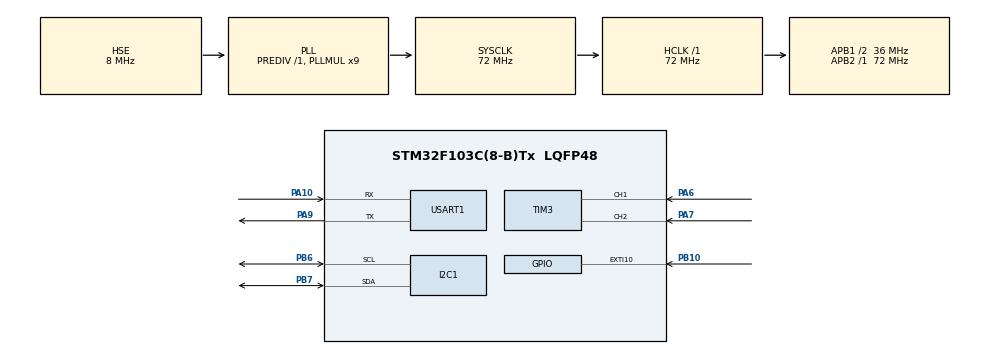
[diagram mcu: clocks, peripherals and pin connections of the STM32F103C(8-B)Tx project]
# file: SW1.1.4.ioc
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Dma.Request0=USART1_RX
Dma.USART1_RX.0.Direction=DMA_PERIPH_TO_MEMORY
Dma.USART1_RX.0.Instance=DMA1_Channel5
Dma.USART1_RX.0.MemDataAlignment=DMA_MDATAALIGN_BYTE
Dma.USART1_RX.0.MemInc=DMA_MINC_ENABLE
Dma.USART1_RX.0.Mode=DMA_CIRCULAR
Dma.USART1_RX.0.PeriphDataAlignment=DMA_PDATAALIGN_BYTE
Dma.USART1_RX.0.PeriphInc=DMA_PINC_DISABLE
Dma.USART1_RX.0.Priority=DMA_PRIORITY_LOW
FREERTOS.BinarySemaphores01=semDisplayUpdate,Dynamic,NULL,Available
FREERTOS.INCLUDE_vTaskCleanUpResources=1
FREERTOS.INCLUDE_vTaskDelayUntil=1
FREERTOS.Mutexes01=mutexI2C,Dynamic,NULL,Available
FREERTOS.Queues01=queueSensorData,4,40,1,Dynamic,NULL,NULL;queueTimeUpdate,2,8,1,Dynamic,NULL,NULL;queueMenuMsg,4,4,1,Dynamic,NULL,NULL;queueBtCmd,4,32,1,Dynamic,NULL,NULL
FREERTOS.Tasks01=taskTimeKeep,2,512,vTask_TimeKeep,Default,NULL,Dynamic,NULL,NULL;taskSensor,1,512,vTask_Sensor,Default,NULL,Dynamic,NULL,NULL;taskDisplay,0,768,vTask_Display,Default,NULL,Dynamic,NULL,NULL;taskMenu,0,256,vTask_Menu,Default,NULL,Dynamic,NULL,NULL;taskBluetooth,-1,384,vTask_Bluetooth,Default,NULL,Dynamic,NULL,NULL
FREERTOS.configMAX_PRIORITIES=32
FREERTOS.configTOTAL_HEAP_SIZE=15000
FREERTOS.configUSE_NEWLIB_REENTRANT=1
FREERTOS.configUSE_TIMERS=0
I2C1.I2C_Mode=I2C_Fast
Mcu.Family=STM32F1
Mcu.Name=STM32F103C(8-B)Tx
Mcu.Package=LQFP48
NVIC.DMA1_Channel5_IRQn=true\:5\:0\:false\:false\:true\:true\:false\:true\:true
NVIC.EXTI15_10_IRQn=true\:7\:0\:true\:false\:true\:true\:true\:true\:true
NVIC.PriorityGroup=NVIC_PRIORITYGROUP_4
NVIC.TIM1_UP_IRQn=true\:15\:0\:false\:false\:true\:false\:false\:true\:true
NVIC.TIM2_IRQn=true\:5\:0\:false\:false\:true\:true\:true\:true\:true
NVIC.TimeBase=TIM1_UP_IRQn
NVIC.TimeBaseIP=TIM1
NVIC.USART1_IRQn=true\:7\:0\:true\:false\:true\:true\:true\:true\:true
PA10.Mode=Asynchronous
PA10.Signal=USART1_RX
PA13.Mode=Serial_Wire
PA13.Signal=SYS_JTMS-SWDIO
PA14.Mode=Serial_Wire
PA14.Signal=SYS_JTCK-SWCLK
PA6.Signal=S_TIM3_CH1
PA7.Signal=S_TIM3_CH2
PA9.Mode=Asynchronous
PA9.Signal=USART1_TX
PB10.GPIO_ModeDefaultEXTI=GPIO_MODE_IT_FALLING
PB10.GPIO_PuPd=GPIO_PULLUP
PB10.Signal=GPXTI10
PB6.Mode=I2C
PB6.Signal=I2C1_SCL
PB7.Mode=I2C
PB7.Signal=I2C1_SDA
PD0-OSC_IN.Mode=HSE-External-Oscillator
PD0-OSC_IN.Signal=RCC_OSC_IN
PD1-OSC_OUT.Mode=HSE-External-Oscillator
PD1-OSC_OUT.Signal=RCC_OSC_OUT
ProjectManager.HeapSize=0x200
ProjectManager.StackSize=0x400
ProjectManager.TargetToolchain=STM32CubeIDE
RCC.AHBFreq_Value=72000000
RCC.APB1CLKDivider=RCC_HCLK_DIV2
RCC.APB1Freq_Value=36000000
RCC.APB1TimFreq_Value=72000000
RCC.APB2Freq_Value=72000000
RCC.APB2TimFreq_Value=72000000
RCC.HCLKFreq_Value=72000000
RCC.PLLMUL=RCC_PLL_MUL9
RCC.PLLSourceVirtual=RCC_PLLSOURCE_HSE
RCC.SYSCLKFreq_VALUE=72000000
RCC.SYSCLKSource=RCC_SYSCLKSOURCE_PLLCLK
RCC.USBFreq_Value=72000000
SH.S_TIM3_CH1.0=TIM3_CH1,Encoder_Interface
SH.S_TIM3_CH2.0=TIM3_CH2,Encoder_Interface
TIM2.AutoReloadPreload=TIM_AUTORELOAD_PRELOAD_ENABLE
TIM2.Period=9999
TIM2.Prescaler=7199
TIM3.EncoderMode=TIM_ENCODERMODE_TI12
TIM3.IC1Filter=5
TIM3.IC2Filter=5
USART1.VirtualMode=VM_ASYNC
VP_FREERTOS_VS_CMSIS_V1.Mode=CMSIS_V1
VP_SYS_VS_tim1.Mode=TIM1
VP_TIM2_VS_ClockSourceINT.Mode=Internal
board=custom

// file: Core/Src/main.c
/* USER CODE BEGIN Header */
/**
  ******************************************************************************
  * @file           : main.c
  * @brief          : Main program body
  ******************************************************************************
  * @attention
  *
  * Copyright (c) 2026 STMicroelectronics.
  * All rights reserved.
  *
  * This software is licensed under terms that can be found in the LICENSE file
  * in the root directory of this software component.
  * If no LICENSE file comes with this software, it is provided AS-IS.
  *
  ******************************************************************************
  */
/* USER CODE END Header */
#include "main.h"
#include "cmsis_os.h"
#include "dma.h"
#include "i2c.h"
#include "tim.h"
#include "usart.h"
#include "gpio.h"

/* USER CODE BEGIN Includes */
#include "ssd1306.h"
#include "mpu6050.h"
#include "bluetooth.h"
#include "menu.h"
#include "timekeep.h"
#include <stdio.h>
/* USER CODE END Includes */

/* USER CODE BEGIN PV */

// RTOS 全局句柄，供外部.c文件调用
extern osMutexId mutexI2CHandle;
extern QueueHandle_t queueMenuMsg;
extern SemaphoreHandle_t semDisplayUpdate;

/* USER CODE END PV */

void SystemClock_Config(void);
void MX_FREERTOS_Init(void);
/* USER CODE BEGIN PFP */

static void Hardware_Init_All(void);

/* USER CODE END PFP */

/* USER CODE BEGIN 0 */

static void Hardware_Init_All(void)
{
    uint8_t mpu_sta;
    // OLED 显示屏初始化
    SSD1306_Init();
    SSD1306_Clear();
    SSD1306_SetCursor(0, 0);
    SSD1306_WriteString("System Init...");
    HAL_Delay(500);

    SSD1306_Clear();
    SSD1306_SetCursor(0, 0);
    SSD1306_WriteString("Booting...");
    HAL_Delay(300);

    // MPU6050 init deferred to taskSensor
    // 蓝牙HC05初始化（DMA环形接收）
    Bluetooth_Init();
}

/* USER CODE END 0 */

int main(void)
{

  /* MCU Configuration--------------------------------------------------------*/

  /* Reset of all peripherals, Initializes the Flash interface and the Systick. */
  HAL_Init();

  /* Configure the system clock */
  SystemClock_Config();

  /* Initialize all configured peripherals */
  MX_GPIO_Init();
  MX_DMA_Init();
  MX_I2C1_Init();
  MX_USART1_UART_Init();
  MX_TIM2_Init();
  MX_TIM3_Init();
  /* USER CODE BEGIN 2 */

  /* Init all peripherals BEFORE FreeRTOS starts (HAL_Delay, NOT osDelay!) */
  Hardware_Init_All();

  /* USER CODE END 2 */

  /* Call init function for freertos objects (in cmsis_os2.c) */
  MX_FREERTOS_Init();

  /* Start scheduler */
  osKernelStart();

  /* We should never get here as control is now taken by the scheduler */

  /* Infinite loop */
  while (1)
  {

  }
}

void SystemClock_Config(void)
{
  RCC_OscInitTypeDef RCC_OscInitStruct = {0};
  RCC_ClkInitTypeDef RCC_ClkInitStruct = {0};

  /** Initializes the RCC Oscillators according to the specified parameters
  * in the RCC_OscInitTypeDef structure.
  */
  RCC_OscInitStruct.OscillatorType = RCC_OSCILLATORTYPE_HSE;
  RCC_OscInitStruct.HSEState = RCC_HSE_ON;
  RCC_OscInitStruct.HSEPredivValue = RCC_HSE_PREDIV_DIV1;
  RCC_OscInitStruct.HSIState = RCC_HSI_ON;
  RCC_OscInitStruct.PLL.PLLState = RCC_PLL_ON;
  RCC_OscInitStruct.PLL.PLLSource = RCC_PLLSOURCE_HSE;
  RCC_OscInitStruct.PLL.PLLMUL = RCC_PLL_MUL9;
  if (HAL_RCC_OscConfig(&RCC_OscInitStruct) != HAL_OK)
  {
    Error_Handler();
  }

  /** Initializes the CPU, AHB and APB buses clocks
  */
  RCC_ClkInitStruct.ClockType = RCC_CLOCKTYPE_HCLK|RCC_CLOCKTYPE_SYSCLK
                              |RCC_CLOCKTYPE_PCLK1|RCC_CLOCKTYPE_PCLK2;
  RCC_ClkInitStruct.SYSCLKSource = RCC_SYSCLKSOURCE_PLLCLK;
  RCC_ClkInitStruct.AHBCLKDivider = RCC_SYSCLK_DIV1;
  RCC_ClkInitStruct.APB1CLKDivider = RCC_HCLK_DIV2;
  RCC_ClkInitStruct.APB2CLKDivider = RCC_HCLK_DIV1;

  if (HAL_RCC_ClockConfig(&RCC_ClkInitStruct, FLASH_LATENCY_2) != HAL_OK)
  {
    Error_Handler();
  }
}

void HAL_TIM_PeriodElapsedCallback(TIM_HandleTypeDef *htim)
{
  if (htim->Instance == TIM1)
  {
    HAL_IncTick();
  }
}

void Error_Handler(void)
{
  __disable_irq();
  while (1)
  {
  }
}

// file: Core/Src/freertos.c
/* USER CODE BEGIN Header */
/**
  ******************************************************************************
  * File Name          : freertos.c
  * Description        : Code for freertos applications
  ******************************************************************************
  * @attention
  *
  * Copyright (c) 2026 STMicroelectronics.
  * All rights reserved.
  *
  * This software is licensed under terms that can be found in the LICENSE file
  * in the root directory of this software component.
  * If no LICENSE file comes with this software, it is provided AS-IS.
  *
  ******************************************************************************
  */
/* USER CODE END Header */

#include "FreeRTOS.h"
#include "task.h"
#include "main.h"
#include "cmsis_os.h"

/* USER CODE BEGIN Includes */

#include "ssd1306.h"
#include "mpu6050.h"
#include "bluetooth.h"
#include "menu.h"
#include "timekeep.h"
#include <stdio.h>
#include <string.h>
#include <math.h>

/* USER CODE END Includes */

/* USER CODE BEGIN PTD */

// 菜单页面枚举
typedef enum {
    PAGE_TIME = 0,
    PAGE_SENSOR,
    PAGE_STEP,
    PAGE_SETTING
} PageTypeDef;

// 菜单全局状态
typedef struct {
    PageTypeDef curPage;
    uint8_t cursorIdx;
    uint32_t idleTick;
} MenuState_t;

/* USER CODE END PTD */

/* USER CODE BEGIN PD */

#define OLED_IDLE_SLEEP_MS 10000U    // 10s无操作熄屏
#define SENSOR_TASK_PERIOD 200U      // 传感器200ms采样一次
#define TIME_TASK_PERIOD   1000U     // 计时1s更新
#define MENU_TASK_PERIOD   20U       // 编码器20ms轮询
#define BT_TASK_PERIOD     100U      // 蓝牙100ms轮询
#define STEP_THRESHOLD     1.1f      // 计步加速度阈值

/* USER CODE END PD */

/* USER CODE BEGIN Variables */

// 全局数据缓存
TimeData g_timeData = {0};
MPU6050_Data g_sensorData = {0};
MenuMsg g_menuMsg = {0};
MenuState_t g_menuState = {.curPage = PAGE_TIME, .cursorIdx = 0, .idleTick = 0};
uint32_t g_stepCount = 0;
uint8_t g_oledSleepFlag = 0;
float g_accelFilter = 0.0f; // 计步滤波缓存
uint32_t g_lastStepTick = 0;

/* USER CODE END Variables */
osThreadId taskTimeKeepHandle;
osThreadId taskSensorHandle;
osThreadId taskDisplayHandle;
osThreadId taskMenuHandle;
osThreadId taskBluetoothHandle;
osMessageQId queueSensorDataHandle;
osMessageQId queueTimeUpdateHandle;
osMessageQId queueMenuMsgHandle;
osMessageQId queueBtCmdHandle;
osMutexId mutexI2CHandle;
osSemaphoreId semDisplayUpdateHandle;

/* USER CODE BEGIN FunctionPrototypes */

static void OLED_WakeUp(void);
static void OLED_Sleep(void);
static void RenderUI(TimeData *time, MPU6050_Data *sensor, uint32_t steps);
static void StepDetection(MPU6050_Data *sensor);

/* USER CODE END FunctionPrototypes */

void vTask_TimeKeep(void const * argument);
void vTask_Sensor(void const * argument);
void vTask_Display(void const * argument);
void vTask_Menu(void const * argument);
void vTask_Bluetooth(void const * argument);

void MX_FREERTOS_Init(void); /* (MISRA C 2004 rule 8.1) */

/* GetIdleTaskMemory prototype (linked to static allocation support) */
void vApplicationGetIdleTaskMemory( StaticTask_t **ppxIdleTaskTCBBuffer, StackType_t **ppxIdleTaskStackBuffer, uint32_t *pulIdleTaskStackSize );

/* USER CODE BEGIN GET_IDLE_TASK_MEMORY */
static StaticTask_t xIdleTaskTCBBuffer;
static StackType_t xIdleStack[configMINIMAL_STACK_SIZE];

void vApplicationGetIdleTaskMemory( StaticTask_t **ppxIdleTaskTCBBuffer, StackType_t **ppxIdleTaskStackBuffer, uint32_t *pulIdleTaskStackSize )
{
  *ppxIdleTaskTCBBuffer = &xIdleTaskTCBBuffer;
  *ppxIdleTaskStackBuffer = &xIdleStack[0];
  *pulIdleTaskStackSize = configMINIMAL_STACK_SIZE;
  /* place for user code */
}
/* USER CODE END GET_IDLE_TASK_MEMORY */

void MX_FREERTOS_Init(void) {
  /* USER CODE BEGIN Init */
  /* Fix FreeRTOS SysTick - vPortSetupTimerInterrupt may fail on STM32F1 */
  SysTick->LOAD = SystemCoreClock / configTICK_RATE_HZ - 1;
  SysTick->VAL  = 0;
  SysTick->CTRL = SysTick_CTRL_CLKSOURCE_Msk | SysTick_CTRL_TICKINT_Msk | SysTick_CTRL_ENABLE_Msk;
  /* USER CODE END Init */
  /* Create the mutex(es) */
  /* definition and creation of mutexI2C */
  osMutexDef(mutexI2C);
  mutexI2CHandle = osMutexCreate(osMutex(mutexI2C));

  /* Create the semaphores(s) */
  /* definition and creation of semDisplayUpdate */
  osSemaphoreDef(semDisplayUpdate);
  semDisplayUpdateHandle = osSemaphoreCreate(osSemaphore(semDisplayUpdate), 1);

  /* Create the queue(s) */
  /* definition and creation of queueSensorData */
  osMessageQDef(queueSensorData, 4, 40);
  queueSensorDataHandle = osMessageCreate(osMessageQ(queueSensorData), NULL);

  /* definition and creation of queueTimeUpdate */
  osMessageQDef(queueTimeUpdate, 2, 8);
  queueTimeUpdateHandle = osMessageCreate(osMessageQ(queueTimeUpdate), NULL);

  /* definition and creation of queueMenuMsg */
  osMessageQDef(queueMenuMsg, 4, 4);
  queueMenuMsgHandle = osMessageCreate(osMessageQ(queueMenuMsg), NULL);

  /* definition and creation of queueBtCmd */
  osMessageQDef(queueBtCmd, 4, 32);
  queueBtCmdHandle = osMessageCreate(osMessageQ(queueBtCmd), NULL);

  /* Create the thread(s) */
  /* definition and creation of taskTimeKeep */
  osThreadDef(taskTimeKeep, vTask_TimeKeep, osPriorityHigh, 0, 256);
  taskTimeKeepHandle = osThreadCreate(osThread(taskTimeKeep), NULL);

  /* definition and creation of taskSensor */
  osThreadDef(taskSensor, vTask_Sensor, osPriorityAboveNormal, 0, 512);
  taskSensorHandle = osThreadCreate(osThread(taskSensor), NULL);

  /* definition and creation of taskDisplay */
  osThreadDef(taskDisplay, vTask_Display, osPriorityNormal, 0, 1024);
  taskDisplayHandle = osThreadCreate(osThread(taskDisplay), NULL);

  /* definition and creation of taskMenu */
  osThreadDef(taskMenu, vTask_Menu, osPriorityNormal, 0, 512);
  taskMenuHandle = osThreadCreate(osThread(taskMenu), NULL);

  /* definition and creation of taskBluetooth */
  osThreadDef(taskBluetooth, vTask_Bluetooth, osPriorityBelowNormal, 0, 512);
  taskBluetoothHandle = osThreadCreate(osThread(taskBluetooth), NULL);

}

void vTask_TimeKeep(void const * argument)
{
  /* USER CODE BEGIN vTask_TimeKeep */
  /* Infinite loop */
  TickType_t xLastWake = xTaskGetTickCount();
  for(;;)
  {
	  // 时间自增
	  	      g_timeData.sec++;
	  	      if(g_timeData.sec >= 60)
	  	      {
	  	        g_timeData.sec = 0;
	  	        g_timeData.min++;
	  	        if(g_timeData.min >= 60)
	  	        {
	  	          g_timeData.min = 0;
	  	          g_timeData.hour++;
	  	          if(g_timeData.hour >= 24)
	  	          {
	  	            g_timeData.hour = 0;
	  	          }
	  	        }
	  	      }
	  	      // 发送时间给显示任务
	  	      xQueueSend(queueTimeUpdateHandle, &g_timeData, 0);
	  	      // 触发屏幕刷新
	  	      xSemaphoreGive(semDisplayUpdateHandle);

	  	      vTaskDelayUntil(&xLastWake, pdMS_TO_TICKS(TIME_TASK_PERIOD));
  }
  /* USER CODE END vTask_TimeKeep */
}

void vTask_Sensor(void const * argument)
{
  /* USER CODE BEGIN vTask_Sensor */
  /* Infinite loop */
	TickType_t xLastWake = xTaskGetTickCount();
  MPU6050_Init();

  for(;;)
  {
	  // 获取I2C互斥锁
	      MPU6050_ReadAll(&g_sensorData);  /* mutex handled internally */
	      // 计步检测
	      StepDetection(&g_sensorData);
	      // 推送传感器数据
	      xQueueSend(queueSensorDataHandle, &g_sensorData, 0);
	      // 刷新屏幕
	      xSemaphoreGive(semDisplayUpdateHandle);

	      vTaskDelayUntil(&xLastWake, pdMS_TO_TICKS(SENSOR_TASK_PERIOD));
  }
  /* USER CODE END vTask_Sensor */
}

void vTask_Display(void const * argument)
{
  /* USER CODE BEGIN vTask_Display */
  /* Infinite loop */
	  TimeData tmpTime;
	  MPU6050_Data tmpSensor;
	  TickType_t xNowTick;
  for(;;)
  {

	   // 等待刷新信号，超时500ms兜底刷新
	    xSemaphoreTake(semDisplayUpdateHandle, pdMS_TO_TICKS(500));

	    // 读取最新数据
	    xQueueReceive(queueTimeUpdateHandle, &tmpTime, 0);
	    xQueueReceive(queueSensorDataHandle, &tmpSensor, 0);

	    // 加锁操作I2C OLED
	    SSD1306_Clear();
	    RenderUI(&tmpTime, &tmpSensor, g_stepCount);  /* SSD1306_SendByte handles mutex */

  }
  /* USER CODE END vTask_Display */
}

void vTask_Menu(void const * argument)
{
  /* USER CODE BEGIN vTask_Menu */
  /* Infinite loop */
	  TickType_t xLastWake = xTaskGetTickCount();
	  int16_t encDelta = 0;
	  uint8_t btnEvt = 0;
  for(;;)
  {
	  // 读取编码器增量并清零计数器
	      encDelta = (int16_t)TIM3->CNT;
	      TIM3->CNT = 0;
	      // 读取按键事件
	      btnEvt = ReadEncoderButton();

	      if(encDelta != 0 || btnEvt != BTN_NONE)
	      {
	        // 重置闲置计时
	        g_menuState.idleTick = xTaskGetTickCount();
	        g_menuMsg.delta = encDelta;
	        g_menuMsg.button = btnEvt;
	        // 发送菜单消息
	        xQueueSend(queueMenuMsgHandle, &g_menuMsg, 0);

	        // 菜单页面逻辑
	        if(btnEvt == BTN_SHORT)
	        {
	          // 短按切换页面
	          g_menuState.curPage = (g_menuState.curPage + 1) % 4;
	          g_menuState.cursorIdx = 0;
	        }
	        else if(encDelta > 0)
	        {
	          g_menuState.cursorIdx++;
	        }
	        else if(encDelta < 0)
	        {
	          if(g_menuState.cursorIdx > 0)
	            g_menuState.cursorIdx--;
	        }
	        // 刷新屏幕
	        xSemaphoreGive(semDisplayUpdateHandle);
	      }
	      vTaskDelayUntil(&xLastWake, pdMS_TO_TICKS(MENU_TASK_PERIOD));
  }
  /* USER CODE END vTask_Menu */
}

void vTask_Bluetooth(void const * argument)
{
  /* USER CODE BEGIN vTask_Bluetooth */
  /* Infinite loop */
	 TickType_t xLastWake = xTaskGetTickCount();
	  uint32_t sendCnt = 0;
  for(;;)
  {
	  // 解析蓝牙接收帧
	      Bluetooth_ProcessReceived();
	      // 每1秒上报一次传感器数据
	      sendCnt++;
	      if(sendCnt >= 10)
	      {
	        Bluetooth_SendSensorData(&g_sensorData);
	        Bluetooth_SendStepData(g_stepCount);
	        sendCnt = 0;
	      }
	      vTaskDelayUntil(&xLastWake, pdMS_TO_TICKS(BT_TASK_PERIOD));
  }
  /* USER CODE END vTask_Bluetooth */
}

/* USER CODE BEGIN Application */

/* fmt_fixed: format float as fixed-point string (nano newlib %f workaround) */
static void fmt_fixed(char *out, float val, int decimals)
{
    int mult = 1, neg;
    for (int i = 0; i < decimals; i++) mult *= 10;
    int v = (int)(val * mult + (val < 0 ? -0.5f : 0.5f));
    neg = (v < 0);
    int av = neg ? -v : v;
    int ip = av / mult;
    int fp = av % mult;
    if (decimals == 1)
        sprintf(out, "%s%d.%d", neg ? "-" : "", ip, fp);
    else if (decimals == 2)
        sprintf(out, "%s%d.%02d", neg ? "-" : "", ip, fp);
}

// 计步算法
static void StepDetection(MPU6050_Data *sensor)
{
  float mag = sqrtf(sensor->accel_x * sensor->accel_x +
                    sensor->accel_y * sensor->accel_y +
                    sensor->accel_z * sensor->accel_z);
  // IIR低通滤波
  g_accelFilter = 0.1f * mag + 0.9f * g_accelFilter;
  TickType_t now = xTaskGetTickCount();
  // 峰值检测，最小步间隔200ms
  if(g_accelFilter > STEP_THRESHOLD)
  {
    if((now - g_lastStepTick) > pdMS_TO_TICKS(200))
    {
      g_stepCount++;
      g_lastStepTick = now;
    }
  }
}

// 界面渲染函数
static void RenderUI(TimeData *time, MPU6050_Data *sensor, uint32_t steps)
{
  char buf[32];
  switch(g_menuState.curPage)
  {
    case PAGE_TIME:
      SSD1306_SetCursor(0, 0);
      SSD1306_WriteString("=== TIME PAGE ===");
      sprintf(buf, "Time:%02d:%02d:%02d", time->hour, time->min, time->sec);
      SSD1306_SetCursor(0, 2);
      SSD1306_WriteString(buf);
      sprintf(buf, "Steps:%lu", steps);
      SSD1306_SetCursor(0, 4);
      SSD1306_WriteString(buf);
      break;
    case PAGE_SENSOR:
      SSD1306_SetCursor(0, 0);
      SSD1306_WriteString("=== SENSOR ===");
      {
        char pa[14], ra[14], ta[14];
        fmt_fixed(pa, sensor->pitch, 1);
        fmt_fixed(ra, sensor->roll, 1);
        fmt_fixed(ta, sensor->temp, 1);
        sprintf(buf, "P:%s R:%s", pa, ra);
        SSD1306_SetCursor(0, 2);
        SSD1306_WriteString(buf);
        sprintf(buf, "Temp:%sC", ta);
        SSD1306_SetCursor(0, 4);
        SSD1306_WriteString(buf);
      }
      break;
    case PAGE_STEP:
      SSD1306_SetCursor(0, 0);
      SSD1306_WriteString("=== STEP DATA ===");
      sprintf(buf, "Today Steps:%lu", steps);
      SSD1306_SetCursor(0, 3);
      SSD1306_WriteString(buf);
      break;
    case PAGE_SETTING:
      SSD1306_SetCursor(0, 0);
      SSD1306_WriteString("=== SETTING ===");
      SSD1306_SetCursor(0, 2);
      SSD1306_WriteString("1.BT Sync Time");
      SSD1306_SetCursor(0, 4);
      SSD1306_WriteString("2.Brightness");
      break;
    default: break;
  }
}

/* USER CODE END Application */
